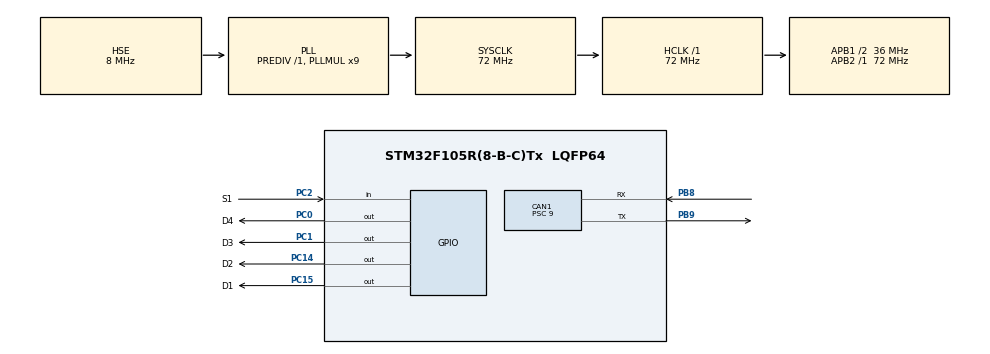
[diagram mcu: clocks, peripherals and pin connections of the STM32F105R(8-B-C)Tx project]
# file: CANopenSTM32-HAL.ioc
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Mcu.Family=STM32F1
RCC.PLLSourceVirtual=RCC_PLLSOURCE_HSE
NVIC.CAN1_RX1_IRQn=true\:0\:0\:false\:false\:true\:true\:true
PD1-OSC_OUT.Mode=HSE-External-Oscillator
CAN1.CalculateBaudRate=500000
TIM6.Prescaler=72
PC2.Signal=GPIO_Input
VP_TIM6_VS_ClockSourceINT.Mode=Enable_Timer
PC0.GPIO_Label=D4
PD0-OSC_IN.Signal=RCC_OSC_IN
PC0.Signal=GPIO_Output
RCC.APB1CLKDivider=RCC_HCLK_DIV2
PC14-OSC32_IN.Signal=GPIO_Output
PC15-OSC32_OUT.GPIO_Label=D1
RCC.SYSCLKSource=RCC_SYSCLKSOURCE_PLLCLK
ProjectManager.StackSize=0x400
PD1-OSC_OUT.Signal=RCC_OSC_OUT
NVIC.TIM6_IRQn=true\:0\:0\:false\:false\:true\:true\:true
PA13.Signal=SYS_JTMS-SWDIO
TIM6.AutoReloadPreload=TIM_AUTORELOAD_PRELOAD_ENABLE
CAN1.BS1=CAN_BS1_6TQ
ProjectManager.TargetToolchain=STM32CubeIDE
NVIC.CAN1_TX_IRQn=true\:0\:0\:false\:false\:true\:true\:true
RCC.HCLKFreq_Value=72000000
PB9.Mode=CAN_Activate
RCC.APB2TimFreq_Value=72000000
RCC.USBFreq_Value=48000000
NVIC.CAN1_SCE_IRQn=true\:0\:0\:false\:false\:true\:true\:true
PC1.PinState=GPIO_PIN_SET
PC15-OSC32_OUT.Signal=GPIO_Output
RCC.AHBFreq_Value=72000000
PD0-OSC_IN.Mode=HSE-External-Oscillator
board=custom
RCC.PLLMUL=RCC_PLL_MUL9
RCC.APB2Freq_Value=72000000
PA14.Mode=Serial_Wire
PC1.GPIO_Label=D3
PC15-OSC32_OUT.PinState=GPIO_PIN_SET
PC2.GPIO_PuPd=GPIO_PULLUP
TIM6.Period=1000
PA13.Mode=Serial_Wire
Mcu.Name=STM32F105R(8-B-C)Tx
RCC.SYSCLKFreq_VALUE=72000000
CAN1.Prescaler=9
Mcu.Package=LQFP64
PB9.Signal=CAN1_TX
PC14-OSC32_IN.PinState=GPIO_PIN_SET
PA14.Signal=SYS_JTCK-SWCLK
ProjectManager.HeapSize=0x200
NVIC.PriorityGroup=NVIC_PRIORITYGROUP_4
PB8.Mode=CAN_Activate
RCC.APB1TimFreq_Value=72000000
PB8.Signal=CAN1_RX
PC14-OSC32_IN.GPIO_Label=D2
RCC.APB1Freq_Value=36000000
CAN1.CalculateTimeBit=2000.00
PC2.GPIO_Label=S1
PC0.PinState=GPIO_PIN_SET
PC1.Signal=GPIO_Output
NVIC.CAN1_RX0_IRQn=true\:0\:0\:false\:false\:true\:true\:true
CAN1.CalculateTimeQuantum=250.0

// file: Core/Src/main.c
/* USER CODE BEGIN Header */
/**
  ******************************************************************************
  * @file           : main.c
  * @brief          : Main program body
  ******************************************************************************
  * @attention
  *
  * <h2><center>&copy; Copyright (c) 2021 STMicroelectronics.
  * All rights reserved.</center></h2>
  *
  * This software component is licensed by ST under BSD 3-Clause license,
  * the "License"; You may not use this file except in compliance with the
  * License. You may obtain a copy of the License at:
  *                        opensource.org/licenses/BSD-3-Clause
  *
  ******************************************************************************
  */
/* USER CODE END Header */
#include "main.h"

/* USER CODE BEGIN Includes */
#include <stdio.h>
#include "CANopen.h"
#include "OD.h"
#include "CO_storageBlank.h"
/* USER CODE END Includes */

CAN_HandleTypeDef hcan1;

TIM_HandleTypeDef htim6;

void SystemClock_Config(void);
static void MX_GPIO_Init(void);
static void MX_CAN1_Init(void);
static void MX_TIM6_Init(void);

/* USER CODE BEGIN 0 */
#define log_printf(macropar_message, ...) \
        printf(macropar_message, ##__VA_ARGS__)

/* default values for CO_CANopenInit() */
#define NMT_CONTROL \
            CO_NMT_STARTUP_TO_OPERATIONAL \
          | CO_NMT_ERR_ON_ERR_REG \
          | CO_ERR_REG_GENERIC_ERR \
          | CO_ERR_REG_COMMUNICATION
#define FIRST_HB_TIME 500
#define SDO_SRV_TIMEOUT_TIME 1000
#define SDO_CLI_TIMEOUT_TIME 500
#define SDO_CLI_BLOCK false
#define OD_STATUS_BITS NULL

/* Global variables and objects */
CO_t *CO = NULL; /* CANopen object */
uint8_t LED_red, LED_green;

uint32_t Timer1msCount = 0;
void HAL_CAN_RxFifo0MsgPendingCallback(CAN_HandleTypeDef *hcan)
{
  CO_CANinterrupt(CO->CANmodule, true);
}

void HAL_CAN_TxMailbox0CompleteCallback(CAN_HandleTypeDef *hcan)
{
  CO_CANinterrupt(CO->CANmodule, false);
}
/* USER CODE END 0 */

int main(void)
{

  /* MCU Configuration--------------------------------------------------------*/

  /* Reset of all peripherals, Initializes the Flash interface and the Systick. */
  HAL_Init();

  /* Configure the system clock */
  SystemClock_Config();

  /* Initialize all configured peripherals */
  MX_GPIO_Init();
  MX_CAN1_Init();
  MX_TIM6_Init();
  /* USER CODE BEGIN 2 */
  HAL_TIM_Base_Start_IT(&htim6);
  HAL_CAN_Start(&hcan1);
  HAL_CAN_ActivateNotification(&hcan1, CAN_IT_TX_MAILBOX_EMPTY);
  HAL_CAN_ActivateNotification(&hcan1, CAN_IT_RX_FIFO0_MSG_PENDING);
  CAN_FilterTypeDef filter;
  filter.FilterBank = 0;
  filter.FilterMode =  CAN_FILTERMODE_IDMASK;
  filter.FilterScale = CAN_FILTERSCALE_16BIT;
  filter.FilterIdHigh = 0;
  filter.FilterIdLow  = 0;
  filter.FilterMaskIdHigh = 0;
  filter.FilterMaskIdLow  = 0;
  filter.FilterFIFOAssignment = CAN_FILTER_FIFO0;
  filter.FilterActivation = ENABLE;
  filter.SlaveStartFilterBank  = 10;
  HAL_CAN_ConfigFilter(&hcan1, &filter);
  /* USER CODE END 2 */

  /* Infinite loop */
  /* USER CODE BEGIN WHILE */
    CO_ReturnError_t err;
    CO_NMT_reset_cmd_t reset = CO_RESET_NOT;
    uint32_t heapMemoryUsed;
    void *CANptr = &hcan1; /* CAN module address */
    uint8_t pendingNodeId = 10; /* read from dip switches or nonvolatile memory, configurable by LSS slave */
    uint8_t activeNodeId = 10; /* Copied from CO_pendingNodeId in the communication reset section */
    uint16_t pendingBitRate = 500000;  /* read from dip switches or nonvolatile memory, configurable by LSS slave */

#if (CO_CONFIG_STORAGE) & CO_CONFIG_STORAGE_ENABLE
    CO_storage_t storage;
    CO_storage_entry_t storageEntries[] = {
        {
            .addr = &OD_ROM,
            .len = sizeof(OD_ROM),
            .subIndexOD = 2,
            .attr = CO_storage_cmd | CO_storage_restore,
        }
    };
    uint8_t storageEntriesCount = sizeof(storageEntries) / sizeof(storageEntries[0]);
    uint32_t storageInitError = 0;
#endif

    /* Allocate memory */
    CO = CO_new(NULL, &heapMemoryUsed);
    if (CO == NULL) {
        log_printf("Error: Can't allocate memory\n");
        return 0;
    }
    else {
        log_printf("Allocated %u bytes for CANopen objects\n", heapMemoryUsed);
    }

#if (CO_CONFIG_STORAGE) & CO_CONFIG_STORAGE_ENABLE
    err = CO_storageBlank_init(&storage,
                               CO->CANmodule,
                               OD_ENTRY_H1010_storeParameters,
                               OD_ENTRY_H1011_restoreDefaultParameters,
							                 OD_ENTRY_H6200_LED,
                               storageEntries,
                               storageEntriesCount,
                               &storageInitError);

    if (err != CO_ERROR_NO && err != CO_ERROR_DATA_CORRUPT) {
        log_printf("Error: Storage %d\n", storageInitError);
        return 0;
    }
#endif
/* CANopen communication reset - initialize CANopen objects *******************/
    log_printf("CANopenNode - Reset communication...\n");

    /* Wait rt_thread. */
    CO->CANmodule->CANnormal = false;

    /* Enter CAN configuration. */
    CO_CANsetConfigurationMode((void *)&CANptr);
    CO_CANmodule_disable(CO->CANmodule);

    /* initialize CANopen */
    err = CO_CANinit(CO, CANptr, pendingBitRate);
    if (err != CO_ERROR_NO) {
        log_printf("Error: CAN initialization failed: %d\n", err);
        return 0;
    }

    CO_LSS_address_t lssAddress = {.identity = {
        .vendorID = OD_ROM.x1018_identity.vendor_ID,
        .productCode = OD_ROM.x1018_identity.productCode,
        .revisionNumber = OD_ROM.x1018_identity.revisionNumber,
        .serialNumber = OD_ROM.x1018_identity.serialNumber
    }};
    err = CO_LSSinit(CO, &lssAddress, &pendingNodeId, &pendingBitRate);
    if(err != CO_ERROR_NO) {
        log_printf("Error: LSS slave initialization failed: %d\n", err);
        return 0;
    }

    activeNodeId = pendingNodeId;
    uint32_t errInfo = 0;

    err = CO_CANopenInit(CO,                /* CANopen object */
                          NULL,              /* alternate NMT */
                          NULL,              /* alternate em */
                          OD,                /* Object dictionary */
                          OD_STATUS_BITS,    /* Optional OD_statusBits */
                          NMT_CONTROL,       /* CO_NMT_control_t */
                          FIRST_HB_TIME,     /* firstHBTime_ms */
                          SDO_SRV_TIMEOUT_TIME, /* SDOserverTimeoutTime_ms */
                          SDO_CLI_TIMEOUT_TIME, /* SDOclientTimeoutTime_ms */
                          SDO_CLI_BLOCK,     /* SDOclientBlockTransfer */
                          activeNodeId,
                          &errInfo);
    if(err != CO_ERROR_NO && err != CO_ERROR_NODE_ID_UNCONFIGURED_LSS) {
        if (err == CO_ERROR_OD_PARAMETERS) {
            log_printf("Error: Object Dictionary entry 0x%X\n", errInfo);
        }
        else {
            log_printf("Error: CANopen initialization failed: %d\n", err);
        }
        return 0;
    }

    /* Configure Timer interrupt function for execution every 1 millisecond */

    /* Configure CAN transmit and receive interrupt */

    /* Configure CANopen callbacks, etc */
    if(!CO->nodeIdUnconfigured) {

#if (CO_CONFIG_STORAGE) & CO_CONFIG_STORAGE_ENABLE
        if(storageInitError != 0) {
            CO_errorReport(CO->em, CO_EM_NON_VOLATILE_MEMORY,
                            CO_EMC_HARDWARE, storageInitError);
        }
#endif
    }
    else {
        log_printf("CANopenNode - Node-id not initialized\n");
    }

    err = CO_CANopenInitPDO(CO,             /* CANopen object */
                            CO->em,         /* emergency object */
                            OD,             /* Object dictionary */
                            activeNodeId,
                            &errInfo);
    if (err != CO_ERROR_NO && err != CO_ERROR_NODE_ID_UNCONFIGURED_LSS) {
        while (1) ;
    }
    /* start CAN */
    CO_CANsetNormalMode(CO->CANmodule);

    reset = CO_RESET_NOT;

    log_printf("CANopenNode - Running...\n");
    fflush(stdout);

  uint32_t timeDiff = 0;
  uint32_t timepre = Timer1msCount;
  while (1)
  {
    timeDiff = Timer1msCount - timepre;
    timepre = Timer1msCount;
    CO_process(CO, false, timeDiff * 1000, NULL);
    GPIO_PinState state = HAL_GPIO_ReadPin(S1_GPIO_Port, GPIO_PIN_2);
    if(state == GPIO_PIN_RESET){
        OD_RAM.x6000_BUTTON[0] = 1;
    }else{
        OD_RAM.x6000_BUTTON[0] = 0;
    }

    /* USER CODE END WHILE */

  }
}

void SystemClock_Config(void)
{
  RCC_OscInitTypeDef RCC_OscInitStruct = {0};
  RCC_ClkInitTypeDef RCC_ClkInitStruct = {0};

  /** Initializes the RCC Oscillators according to the specified parameters
  * in the RCC_OscInitTypeDef structure.
  */
  RCC_OscInitStruct.OscillatorType = RCC_OSCILLATORTYPE_HSE;
  RCC_OscInitStruct.HSEState = RCC_HSE_ON;
  RCC_OscInitStruct.HSEPredivValue = RCC_HSE_PREDIV_DIV1;
  RCC_OscInitStruct.HSIState = RCC_HSI_ON;
  RCC_OscInitStruct.Prediv1Source = RCC_PREDIV1_SOURCE_HSE;
  RCC_OscInitStruct.PLL.PLLState = RCC_PLL_ON;
  RCC_OscInitStruct.PLL.PLLSource = RCC_PLLSOURCE_HSE;
  RCC_OscInitStruct.PLL.PLLMUL = RCC_PLL_MUL9;
  RCC_OscInitStruct.PLL2.PLL2State = RCC_PLL_NONE;
  if (HAL_RCC_OscConfig(&RCC_OscInitStruct) != HAL_OK)
  {
    Error_Handler();
  }
  /** Initializes the CPU, AHB and APB buses clocks
  */
  RCC_ClkInitStruct.ClockType = RCC_CLOCKTYPE_HCLK|RCC_CLOCKTYPE_SYSCLK
                              |RCC_CLOCKTYPE_PCLK1|RCC_CLOCKTYPE_PCLK2;
  RCC_ClkInitStruct.SYSCLKSource = RCC_SYSCLKSOURCE_PLLCLK;
  RCC_ClkInitStruct.AHBCLKDivider = RCC_SYSCLK_DIV1;
  RCC_ClkInitStruct.APB1CLKDivider = RCC_HCLK_DIV2;
  RCC_ClkInitStruct.APB2CLKDivider = RCC_HCLK_DIV1;

  if (HAL_RCC_ClockConfig(&RCC_ClkInitStruct, FLASH_LATENCY_2) != HAL_OK)
  {
    Error_Handler();
  }
  /** Configure the Systick interrupt time
  */
  __HAL_RCC_PLLI2S_ENABLE();
}

static void MX_CAN1_Init(void)
{

  hcan1.Instance = CAN1;
  hcan1.Init.Prescaler = 9;
  hcan1.Init.Mode = CAN_MODE_NORMAL;
  hcan1.Init.SyncJumpWidth = CAN_SJW_1TQ;
  hcan1.Init.TimeSeg1 = CAN_BS1_6TQ;
  hcan1.Init.TimeSeg2 = CAN_BS2_1TQ;
  hcan1.Init.TimeTriggeredMode = DISABLE;
  hcan1.Init.AutoBusOff = DISABLE;
  hcan1.Init.AutoWakeUp = DISABLE;
  hcan1.Init.AutoRetransmission = DISABLE;
  hcan1.Init.ReceiveFifoLocked = DISABLE;
  hcan1.Init.TransmitFifoPriority = DISABLE;
  if (HAL_CAN_Init(&hcan1) != HAL_OK)
  {
    Error_Handler();
  }

}

static void MX_TIM6_Init(void)
{

  TIM_MasterConfigTypeDef sMasterConfig = {0};

  htim6.Instance = TIM6;
  htim6.Init.Prescaler = 72;
  htim6.Init.CounterMode = TIM_COUNTERMODE_UP;
  htim6.Init.Period = 1000;
  htim6.Init.AutoReloadPreload = TIM_AUTORELOAD_PRELOAD_ENABLE;
  if (HAL_TIM_Base_Init(&htim6) != HAL_OK)
  {
    Error_Handler();
  }
  sMasterConfig.MasterOutputTrigger = TIM_TRGO_RESET;
  sMasterConfig.MasterSlaveMode = TIM_MASTERSLAVEMODE_DISABLE;
  if (HAL_TIMEx_MasterConfigSynchronization(&htim6, &sMasterConfig) != HAL_OK)
  {
    Error_Handler();
  }

}

static void MX_GPIO_Init(void)
{
  GPIO_InitTypeDef GPIO_InitStruct = {0};

  /* GPIO Ports Clock Enable */
  __HAL_RCC_GPIOC_CLK_ENABLE();
  __HAL_RCC_GPIOD_CLK_ENABLE();
  __HAL_RCC_GPIOA_CLK_ENABLE();
  __HAL_RCC_GPIOB_CLK_ENABLE();

  /*Configure GPIO pin Output Level */
  HAL_GPIO_WritePin(GPIOC, D2_Pin|D1_Pin|D4_Pin|D3_Pin, GPIO_PIN_SET);

  /*Configure GPIO pins : D2_Pin D1_Pin D4_Pin D3_Pin */
  GPIO_InitStruct.Pin = D2_Pin|D1_Pin|D4_Pin|D3_Pin;
  GPIO_InitStruct.Mode = GPIO_MODE_OUTPUT_PP;
  GPIO_InitStruct.Pull = GPIO_NOPULL;
  GPIO_InitStruct.Speed = GPIO_SPEED_FREQ_LOW;
  HAL_GPIO_Init(GPIOC, &GPIO_InitStruct);

  /*Configure GPIO pin : S1_Pin */
  GPIO_InitStruct.Pin = S1_Pin;
  GPIO_InitStruct.Mode = GPIO_MODE_INPUT;
  GPIO_InitStruct.Pull = GPIO_PULLUP;
  HAL_GPIO_Init(S1_GPIO_Port, &GPIO_InitStruct);

}

void Error_Handler(void)
{
  __disable_irq();
  while (1)
  {
  }
}

/************************ (C) COPYRIGHT STMicroelectronics *****END OF FILE****/
